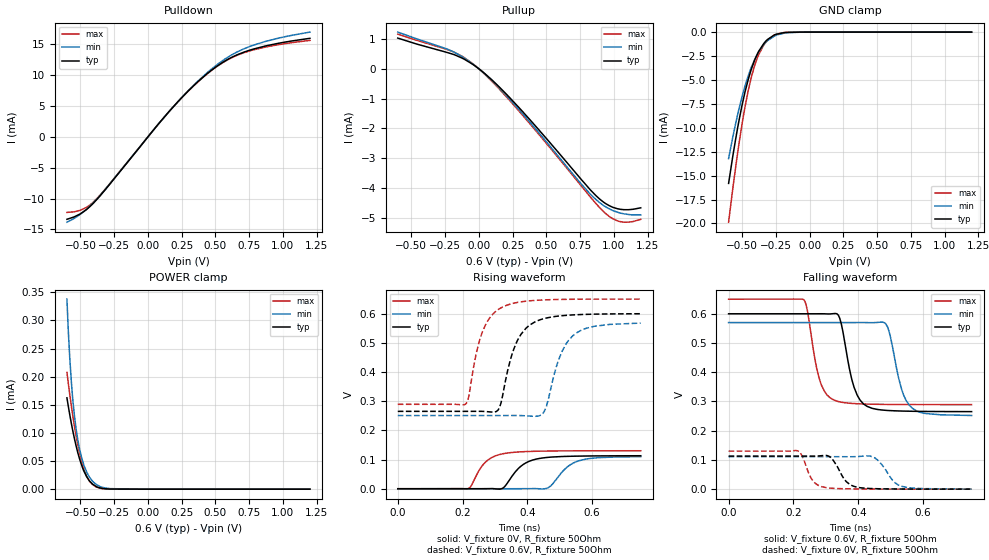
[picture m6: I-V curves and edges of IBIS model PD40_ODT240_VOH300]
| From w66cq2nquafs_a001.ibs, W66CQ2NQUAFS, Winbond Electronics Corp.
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[Model]   PD40_ODT240_VOH300
Model_type   I/O
Polarity   Non-Inverting
Enable   Active-Low
Vinl = 0.08
Vinh = 0.22
Vmeas = 0.15
Vref = 0
Cref = 0pF
Rref = 240
|   typ   min   max
C_comp   0.85pF   0.80pF   0.90pF
[Voltage Range]   0.6   0.57   0.65
[Temperature Range]   25   125   -40
[Pullup Reference]   0.6   0.57   0.65
[Pulldown Reference]   0   0   0
[Power Clamp Reference]   0.6   0.57   0.65
[GND Clamp Reference]   0   0   0
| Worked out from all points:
|   slope of the pulldown table from 0 to 0.09 V, typ, clamps not added: 37.4 ohm
|   slope of the pullup table from 0 to 0.09 V, typ, clamps not added: 260 ohm
|   GND clamp passes 1 mA (typ) near -0.33 V on its own axis
|   falling waveform, V_fixture 0.6V, R_fixture 50Ohm: 20-80 % time 39.4ps typ, 40.6ps min, 36.7ps max; typ from 0.6 V to 0.265 V
|   rising waveform, V_fixture 0V, R_fixture 50Ohm: 20-80 % time 58.5ps typ, 59.8ps min, 51.7ps max; typ from 0 V to 0.113 V
|   rising waveform, V_fixture 0.6V, R_fixture 50Ohm: 20-80 % time 57.2ps typ, 58ps min, 53.1ps max; typ from 0.265 V to 0.6 V
|   falling waveform, V_fixture 0V, R_fixture 50Ohm: 20-80 % time 39ps typ, 44.2ps min, 31.6ps max; typ from 0.113 V to 0 V
[Pulldown]
|   Voltage   I(typ)   I(min)   I(max)
-600mV    -13.36mA   -13.83mA   -12.25mA
-495.4mV  -12.4mA    -12.47mA   -11.85mA
-453.7mV  -11.76mA   -11.73mA   -11.41mA
-403.9mV  -10.76mA   -10.67mA   -10.56mA
-310.8mV  -8.427mA   -8.367mA   -8.342mA
168.6mV   4.406mA    4.396mA    4.396mA
341.2mV   8.353mA    8.415mA    8.324mA
466.7mV   10.74mA    10.91mA    10.69mA
618.8mV   12.87mA    13.27mA    12.81mA
757.2mV   14.07mA    14.68mA    13.96mA
966.4mV   15.17mA    16mA       14.95mA
1.2V      15.98mA    16.99mA    15.64mA
[GND Clamp]
|   Voltage   I(typ)   I(min)   I(max)
-600mV    -15.82mA   -13.22mA   -19.87mA
-565.2mV  -12.66mA   -10.72mA   -15.96mA
-522mV    -9.179mA   -7.975mA   -11.56mA
-495.4mV  -7.33mA    -6.497mA   -9.175mA
-453.7mV  -4.92mA    -4.54mA    -6.051mA
-430.2mV  -3.821mA   -3.635mA   -4.637mA
-384.9mV  -2.24mA    -2.246mA   -2.607mA
-340mV    -1.212mA   -1.32mA    -1.348mA
-310.1mV  -759uA     -879.5uA   -814.9uA
-260.7mV  -294uA     -416.8uA   -303.3uA
-165.1mV  -31.6uA    -65.91uA   -23.8uA
1.2V      0A         0A         0A
[Pullup]
|   Voltage   I(typ)   I(min)   I(max)
-600mV    1.025mA    1.225mA    1.157mA
-190.2mV  481.1uA    568uA      568.6uA
-39.7mV   129.5uA    143.1uA    151.1uA
84.45mV   -322.5uA   -344.6uA   -363.7uA
228.1mV   -964.6uA   -1.018mA   -1.059mA
759.4mV   -3.71mA    -3.864mA   -3.924mA
836.5mV   -4.105mA   -4.245mA   -4.349mA
925.8mV   -4.473mA   -4.584mA   -4.791mA
993mV     -4.641mA   -4.749mA   -5.023mA
1.052V    -4.71mA    -4.836mA   -5.124mA
1.126V    -4.714mA   -4.89mA    -5.129mA
1.2V      -4.658mA   -4.895mA   -5.044mA
[POWER Clamp]
|   Voltage   I(typ)   I(min)   I(max)
-600mV    162.4uA    337.9uA    207.7uA
-589.7mV  147.3uA    281.5uA    188uA
-579.2mV  132.6uA    234.1uA    168.7uA
-566.9mV  116.5uA    189.7uA    147.5uA
-544.1mV  89.56uA    130uA      111.5uA
-519.6mV  64.85uA    87.75uA    78.97uA
-491.1mV  42.76uA    55.91uA    49.37uA
-453.7mV  22.13uA    30.45uA    23.17uA
-430.1mV  13.7uA     20.39uA    13.45uA
-384.9mV  4.95uA     8.678uA    4.015uA
-284.2mV  254.6nA    955.5nA    82.44nA
1.2V      0A         0A         0A
[Ramp]
R_load = 50
|   typ   min   max
dV/dt_r 6.7827E-02/5.8440E-11   6.5984E-02/5.9697E-11   7.8092E-02/5.1620E-11
dV/dt_f 2.0084E-01/3.9138E-11   1.9075E-01/4.0591E-11   2.1643E-01/3.6651E-11
[Falling Waveform]
V_fixture = 0.6V
V_fixture_min = 0.57V
V_fixture_max = 0.65V
R_fixture = 50Ohm
C_fixture = 0F
|   Time   V(typ)   V(min)   V(max)
0s        600mV      570mV      650mV
233ps     600mV      570mV      647.3mV
286ps     600.1mV    570mV      357.4mV
335ps     599.6mV    570mV      301mV
397ps     321.4mV    570.1mV    292.3mV
478ps     270.3mV    570.9mV    290mV
495ps     269mV      540.5mV    289.9mV
533ps     267.3mV    345mV      289.6mV
559ps     266.7mV    285.6mV    289.5mV
750ps     265.3mV    252.1mV    289.3mV
[Rising Waveform]
V_fixture = 0V
V_fixture_min = 0V
V_fixture_max = 0V
R_fixture = 50Ohm
C_fixture = 0F
|   Time   V(typ)   V(min)   V(max)
0s        4.358uV    35.37uV    865.7nV
218ps     -660.2nV   35.36uV    464.8uV
265ps     115.4uV    35.76uV    84.52mV
319ps     -553.1uV   29.34uV    118.4mV
388ps     83.69mV    184.1uV    127mV
452ps     106.1mV    -540.8uV   129mV
472ps     108.3mV    9.511mV    129.3mV
525ps     111mV      76.22mV    129.8mV
558ps     111.8mV    95.49mV    129.9mV
750ps     113mV      110mV      130.2mV
[Rising Waveform]
V_fixture = 0.6V
V_fixture_min = 0.57V
V_fixture_max = 0.65V
R_fixture = 50Ohm
C_fixture = 0F
|   Time   V(typ)   V(min)   V(max)
0s        265.2mV    250.8mV    289.3mV
211ps     265.1mV    250.8mV    291.5mV
257ps     265.2mV    250.8mV    524.4mV
304ps     264.6mV    250.8mV    609.2mV
368ps     504.9mV    250.9mV    638.2mV
436ps     577.7mV    249.6mV    646.3mV
459ps     585.1mV    283mV      647.4mV
505ps     592.7mV    465.7mV    648.8mV
539ps     595.6mV    523mV      649.3mV
750ps     599.7mV    567.7mV    650mV
[Falling Waveform]
|Gnd
V_fixture = 0V
V_fixture_min = 0V
V_fixture_max = 0V
R_fixture = 50Ohm
C_fixture = 0F
|   Time   V(typ)   V(min)   V(max)
0s        113.2mV    111.1mV    130.2mV
214ps     113.2mV    111.1mV    130.7mV
260ps     113.1mV    111.1mV    28.97mV
303ps     115mV      111.1mV    4.822mV
323ps     98.48mV    111.1mV    2.826mV
363ps     26.16mV    111mV      1.326mV
396ps     6.891mV    111.4mV    775.9uV
452ps     1.723mV    106.6mV    340.2uV
534ps     554.6uV    9.874mV    95.21uV
750ps     43.19uV    415.8uV    3.379uV
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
